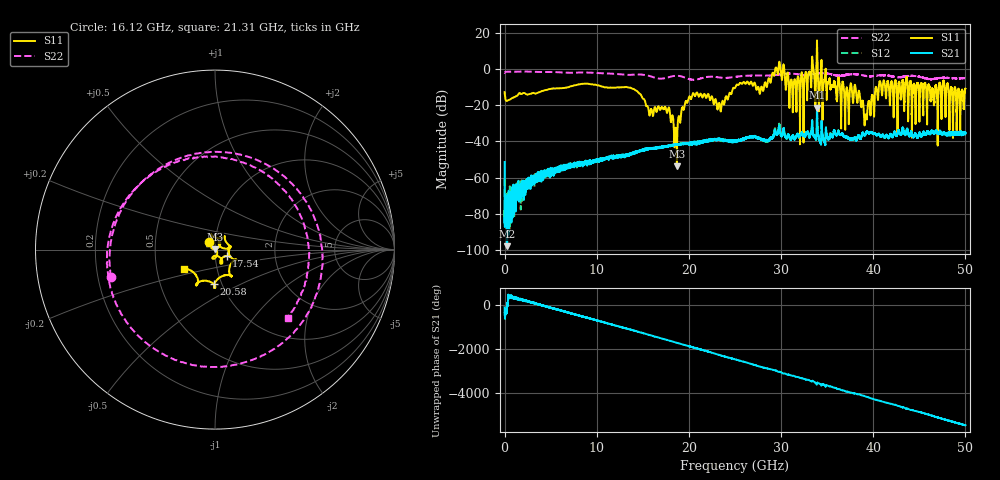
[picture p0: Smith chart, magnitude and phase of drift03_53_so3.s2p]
!Created with skrf (http://scikit-rf.org).
# Hz S RI R 50.0
!freq ReS11 ImS11 ReS21 ImS21 ReS12 ImS12 ReS22 ImS22
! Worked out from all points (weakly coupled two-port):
!   10001 points, 300 kHz to 50 GHz, reference 50 ohm
!   highest |S21| = -21.28 dB at 33.9 GHz (marker M1); lowest = -98.0 dB at 275.3 MHz (marker M2)
!   lowest |S11| = -53.7 dB at 18.69 GHz (marker M3), VSWR 1.00, Z = 49.9 + j0.181 ohm
!   |S11| at or under -10 dB: start of sweep to 6.944 GHz; 13.31 GHz to 25.05 GHz (11.74 GHz wide, 61.2 % of centre); 38.08 GHz to 40.27 GHz (2.191 GHz wide, 5.59 % of centre) (the widest 3 of 59)
!   |S22| runs from -5.9 to -1.3 dB; largest |S21 - S12| = 0.0079
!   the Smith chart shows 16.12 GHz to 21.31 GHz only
!   S11 on the Smith chart (normalised r, x): 16.12 GHz: 0.94, +0.08; 17.54 GHz: 1.13, -0.08; 20.58 GHz: 0.92, -0.37; 21.31 GHz: 0.69, -0.16
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300000  -0.2082 -0.0991  -0.00111 -0.00245  0.000897 -0.000131  -0.7654 -0.1961
2.752984e8  -0.1071 0.0785  1.25e-05 2.11e-06  -1.59e-05 -0.000117  -0.7209 0.4453
1.535291e9  0.2048 0.0431  -0.000105 -0.000253  -0.000188 -0.000678  0.8487 0.0774
3.160281e9  -0.2186 -0.00844  -0.000137 0.000876  0.000165 0.00085  -0.8439 -0.0244
4.665272e9  0.2634 0.0616  6.38e-05 -0.00148  -4.52e-05 -0.00148  0.8188 0.1425
6.360262e9  -0.3004 0.000487  0.000615 0.00167  0.000543 0.00193  -0.804 -0.0431
8.33525e9  0.2832 -0.2676  -0.00247 -0.000911  -0.00222 -0.000846  0.6021 -0.5355
1.043024e10  -0.0427 0.3324  0.00233 -0.00178  0.00244 -0.00186  -0.0375 0.7699
1.201523e10  0.00726 -0.3083  -0.00277 0.00233  -0.0028 0.00278  0.1077 -0.7298
1.61152e10  -0.0316 0.041  0.00624 0.00212  0.00603 0.00214  -0.5805 -0.1515
1.66702e10  0.0541 0.075  0.00458 -0.00471  0.00455 -0.00493  -0.3593 0.4179
1.753519e10  0.0646 -0.0359  -0.00638 -0.00382  -0.00619 -0.00373  0.498 0.2808
1.869019e10  -0.000998 0.00182  0.00251 0.00789  0.0024 0.00796  -0.0828 -0.6495
2.057518e10  -0.00524 -0.1933  -0.00799 -0.00419  -0.00811 -0.0042  0.3732 0.3449
2.131017e10  -0.1721 -0.11  -0.0051 0.00798  -0.00499 0.00782  0.405 -0.3805
2.500015e10  -0.2965 -0.0486  0.0078 0.00621  0.00768 0.00677  -0.1877 -0.583
3.051012e10  0.2474 -0.1059  -0.0021 0.0125  -0.00244 0.0129  0.7416 -0.0588
3.213011e10  0.1998 0.3731  4.3e-05 -0.0148  -0.000304 -0.0151  -0.6971 0.00869
3.33351e10  0.4615 -0.9858  -0.00557 0.0248  -0.00623 0.0248  0.6134 0.367
3.38951e10  -0.7911 -6.157  0.086 0.00748  0.0824 0.00728  0.6789 -0.3203
4.167005e10  -0.2214 0.2846  -0.0121 -0.00387  -0.0117 -0.00533  -0.6495 -0.0558
5e10  -0.1486 -0.2442  0.00222 -0.0165  0.00193 -0.0161  0.4688 -0.314
